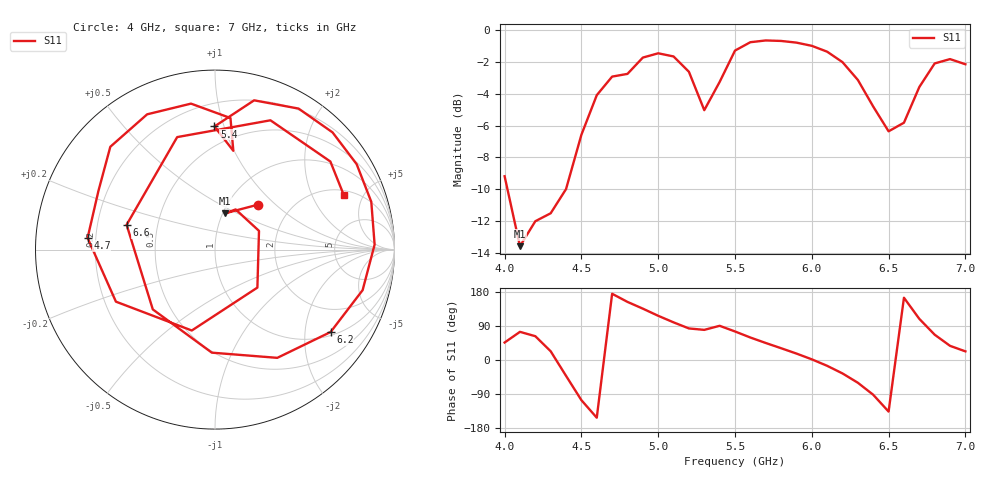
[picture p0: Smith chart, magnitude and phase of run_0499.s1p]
! Touchstone file exported from HFSS 2024.2.0
!  File:  C:/Users/wsak9/Desktop/Sim Fast/Widenad Patch/WP_AI_V1_sweep.aedt
!  Generated:  01:00:12 PM Oct 14, 2026
!  Design:  A1_model
!  Project:  WP_AI_V1_sweep
!  Setup:  Setup1
!  Solution:  Sweep
! Variables:
!  Air_gap = 1.54mm
!  Curve_Amp1 = 3.08
!  Curve_len1 = 1
!  Curve_pos = 11.625mm
!  Extra = 5.47mm
!  H_sub = 0.79mm
!  L_Patch = 19.25mm
!  L_Patch1 = 22.12mm
!  Sx = 1.06mm
!  Sy = 3.89mm
!  WS = 0.44mm
!  W_Patch = 20.45mm
!  W_Patch1 = 16.65mm
!Data is not renormalized
# GHz S MA
! Terminal data exported
! Port[1] = 1
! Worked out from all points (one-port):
!   31 points, 4 GHz to 7 GHz, reference per port
!   lowest |S11| = -13.5 dB at 4.1 GHz (marker M1), VSWR 1.53
!   |S11| at or under -10 dB: 4.019 GHz to 4.398 GHz (379.4 MHz wide, 9.02 % of centre)
!   S11 on the Smith chart (normalised r, x): 4 GHz: 1.38, +0.79; 4.7 GHz: 0.17, +0.04; 5.4 GHz: 0.36, +0.93; 6.2 GHz: 1.11, -2.72; 6.6 GHz: 0.33, +0.12; 7 GHz: 2.30, +3.54
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4  0.3478 46.1
4.1  0.2102 74.3
4.2  0.2516 62.8
4.3  0.2664 23.0
4.4  0.3171 -41.9
4.5  0.469 -106.0
4.6  0.6236 -152.3
4.7  0.7129 174.8
4.8  0.727 153.3
4.9  0.8176 135.5
5  0.8432 116.6
5.1  0.8242 99.3
5.2  0.738 83.3
5.3  0.5598 79.5
5.4  0.686 90.3
5.5  0.8598 75.3
5.7  0.9249 44.9
5.9  0.9105 17.0
6.1  0.853 -15.4
6.2  0.7911 -35.5
6.3  0.6958 -60.1
6.4  0.5744 -91.8
6.5  0.4807 -136.1
6.6  0.5114 164.3
6.7  0.6613 108.6
6.8  0.7838 66.8
6.9  0.8087 37.4
7  0.7792 22.8
